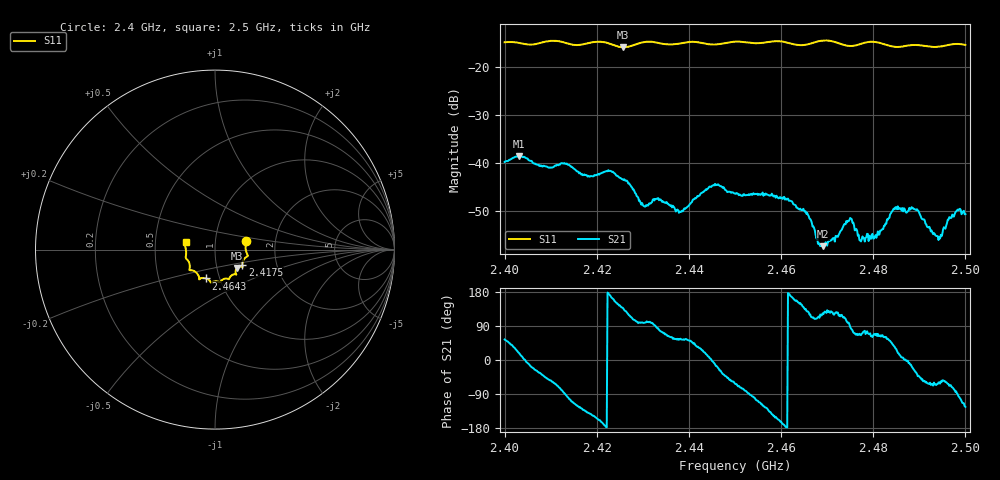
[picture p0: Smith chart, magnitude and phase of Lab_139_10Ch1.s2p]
# Hz S RI R 50
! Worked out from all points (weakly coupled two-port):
!   601 points, 2.4 GHz to 2.5 GHz, reference 50 ohm
!   highest |S21| = -38.55 dB at 2.4032 GHz (marker M1); lowest = -57.3 dB at 2.4692 GHz (marker M2)
!   lowest |S11| = -15.9 dB at 2.4257 GHz (marker M3), VSWR 1.38, Z = 62.4 - j13.1 ohm
!   |S11| at or under -10 dB: start of sweep to end of sweep
!   S12 and S22 are empty: the file has one direction only
!   S11 on the Smith chart (normalised r, x): 2.4 GHz: 1.41, +0.14; 2.4175 GHz: 1.34, -0.23; 2.4643 GHz: 0.86, -0.28; 2.5 GHz: 0.72, +0.06
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2.4e9  0.1735 0.0485  0.00599 0.00829  0 0  0 0
2.403167e9  0.1744 0.0326  0.0112 0.00364  0 0  0 0
2.416667e9  0.1531 -0.0748  -0.00463 -0.00597  0 0  0 0
2.4175e9  0.152 -0.0841  -0.00524 -0.00531  0 0  0 0
2.425667e9  0.1225 -0.1023  -0.00497 0.00457  0 0  0 0
2.43e9  0.1172 -0.1366  -0.000535 0.00361  0 0  0 0
2.433333e9  0.1126 -0.1373  0.000482 0.00428  0 0  0 0
2.438167e9  0.0818 -0.1555  0.00172 0.00257  0 0  0 0
2.4455e9  0.0513 -0.1629  0.00578 -0.000823  0 0  0 0
2.45e9  0.0287 -0.1807  0.00223 -0.00425  0 0  0 0
2.464333e9  -0.0499 -0.1606  -0.00271 0.00178  0 0  0 0
2.466667e9  -0.0759 -0.159  -0.000933 0.00219  0 0  0 0
2.469167e9  -0.088 -0.1659  -0.0007 0.00117  0 0  0 0
2.474667e9  -0.103 -0.1291  -0.00037 0.00245  0 0  0 0
2.477667e9  -0.1326 -0.1152  0.000574 0.00162  0 0  0 0
2.480833e9  -0.1427 -0.11  0.000784 0.00158  0 0  0 0
2.483333e9  -0.1403 -0.0898  0.00158 0.00213  0 0  0 0
2.484833e9  -0.1435 -0.0736  0.00298 0.00176  0 0  0 0
2.488833e9  -0.1625 -0.0463  0.003 -0.0014  0 0  0 0
2.494333e9  -0.162 0.00203  0.000866 -0.00145  0 0  0 0
2.498333e9  -0.1699 0.0338  -3.37e-05 -0.00327  0 0  0 0
2.5e9  -0.1638 0.0425  -0.00163 -0.00243  0 0  0 0
